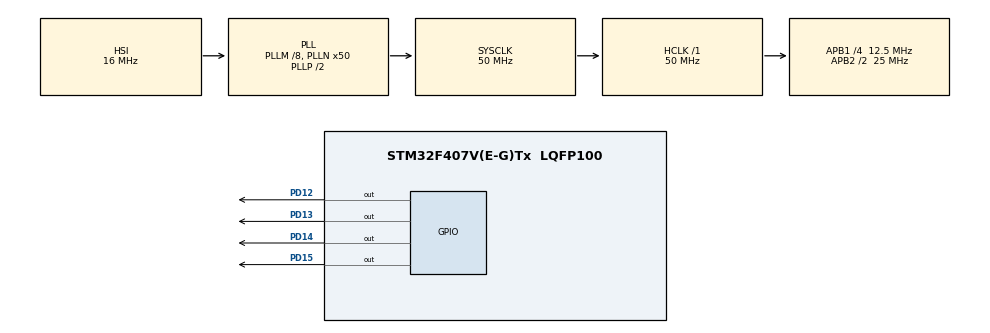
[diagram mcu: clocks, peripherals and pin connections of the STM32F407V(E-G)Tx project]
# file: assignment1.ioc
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FREERTOS.INCLUDE_vTaskDelayUntil=1
FREERTOS.Tasks01=defaultTask,-3,128,StartDefaultTask,Default,NULL,Dynamic,NULL,NULL
FREERTOS.configUSE_NEWLIB_REENTRANT=1
Mcu.Family=STM32F4
Mcu.Name=STM32F407V(E-G)Tx
Mcu.Package=LQFP100
NVIC.PriorityGroup=NVIC_PRIORITYGROUP_4
NVIC.TIM1_UP_TIM10_IRQn=true\:15\:0\:false\:false\:true\:false\:false\:true\:true
NVIC.TimeBase=TIM1_UP_TIM10_IRQn
NVIC.TimeBaseIP=TIM1
PD12.Signal=GPIO_Output
PD13.Signal=GPIO_Output
PD14.Signal=GPIO_Output
PD15.Signal=GPIO_Output
ProjectManager.HeapSize=0x200
ProjectManager.StackSize=0x400
ProjectManager.TargetToolchain=STM32CubeIDE
RCC.48MHZClocksFreq_Value=14285714.285714285
RCC.AHBFreq_Value=50000000
RCC.APB1CLKDivider=RCC_HCLK_DIV4
RCC.APB1Freq_Value=12500000
RCC.APB1TimFreq_Value=25000000
RCC.APB2CLKDivider=RCC_HCLK_DIV2
RCC.APB2Freq_Value=25000000
RCC.APB2TimFreq_Value=50000000
RCC.CortexFreq_Value=50000000
RCC.HCLKFreq_Value=50000000
RCC.HSE_VALUE=8000000
RCC.HSI_VALUE=16000000
RCC.PLLM=8
RCC.PLLN=50
RCC.PLLQ=7
RCC.SYSCLKFreq_VALUE=50000000
RCC.SYSCLKSource=RCC_SYSCLKSOURCE_PLLCLK
RCC.VCOOutputFreq_Value=100000000
VP_FREERTOS_VS_CMSIS_V1.Mode=CMSIS_V1
VP_SYS_VS_tim1.Mode=TIM1
board=STM32F407G-DISC1

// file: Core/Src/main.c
/* USER CODE BEGIN Header */
/**
  ******************************************************************************
  * @file           : main.c
  * @brief          : Main program body
  ******************************************************************************
  * @attention
  *
  * Copyright (c) 2024 STMicroelectronics.
  * All rights reserved.
  *
  * This software is licensed under terms that can be found in the LICENSE file
  * in the root directory of this software component.
  * If no LICENSE file comes with this software, it is provided AS-IS.
  *
  ******************************************************************************
  */
/* USER CODE END Header */
#include "main.h"
#include "cmsis_os.h"

/* USER CODE BEGIN Includes */
void vLedTask1(void * param)
{
	portTickType wakeuptime = xTaskGetTickCount();
	while(1)
	{
		HAL_GPIO_TogglePin(GPIOD, GPIO_PIN_12);
		vTaskDelayUntil(&wakeuptime, 1000 / portTICK_RATE_MS);

	}
	vTaskDelete(NULL);
}

void vLedTask2(void * param)
{
	portTickType wakeuptime = xTaskGetTickCount();
		while(1)
		{
			HAL_GPIO_TogglePin(GPIOD, GPIO_PIN_13);
			vTaskDelayUntil(&wakeuptime, 2000 / portTICK_RATE_MS);

		}
		vTaskDelete(NULL);
}

void vLedTask3(void * param)
{
	portTickType wakeuptime = xTaskGetTickCount();
		while(1)
		{
			HAL_GPIO_TogglePin(GPIOD, GPIO_PIN_14);
			vTaskDelayUntil(&wakeuptime, 3000 / portTICK_RATE_MS);

		}
		vTaskDelete(NULL);
}

void vLedTask4(void * param)
{
	portTickType wakeuptime = xTaskGetTickCount();
		while(1)
		{
			HAL_GPIO_TogglePin(GPIOD, GPIO_PIN_15);
			vTaskDelayUntil(&wakeuptime, 4000 / portTICK_RATE_MS);

		}
		vTaskDelete(NULL);
}
/* USER CODE END Includes */

osThreadId defaultTaskHandle;

void SystemClock_Config(void);
static void MX_GPIO_Init(void);
void StartDefaultTask(void const * argument);

int main(void)
{

  /* USER CODE BEGIN 1 */
	BaseType_t ret;
  /* USER CODE END 1 */

  /* MCU Configuration--------------------------------------------------------*/

  /* Reset of all peripherals, Initializes the Flash interface and the Systick. */
  HAL_Init();

  /* Configure the system clock */
  SystemClock_Config();

  /* Initialize all configured peripherals */
  MX_GPIO_Init();

  /* Create the thread(s) */
  /* definition and creation of defaultTask */
  osThreadDef(defaultTask, StartDefaultTask, osPriorityIdle, 0, 128);
  defaultTaskHandle = osThreadCreate(osThread(defaultTask), NULL);

  /* USER CODE BEGIN RTOS_THREADS */
  /* add threads, ... */
  ret = xTaskCreate(vLedTask1, "Periodic", configMINIMAL_STACK_SIZE, NULL, 2, NULL);
  if(ret != pdTRUE)
	  Error_Handler();
  ret = xTaskCreate(vLedTask2, "periodic", configMINIMAL_STACK_SIZE, NULL, 2, NULL);
  if(ret != pdTRUE)
	  Error_Handler();
  ret = xTaskCreate(vLedTask3, "Periodic", configMINIMAL_STACK_SIZE, NULL, 2, NULL);
  if(ret != pdTRUE)
	 Error_Handler();
  ret = xTaskCreate(vLedTask4, "periodic", configMINIMAL_STACK_SIZE, NULL, 2, NULL);
  if(ret != pdTRUE)
	 Error_Handler();

  /* USER CODE END RTOS_THREADS */

  /* Start scheduler */
  osKernelStart();

  /* We should never get here as control is now taken by the scheduler */

  /* Infinite loop */
  while (1)
  {

  }
}

void SystemClock_Config(void)
{
  RCC_OscInitTypeDef RCC_OscInitStruct = {0};
  RCC_ClkInitTypeDef RCC_ClkInitStruct = {0};

  /** Configure the main internal regulator output voltage
  */
  __HAL_RCC_PWR_CLK_ENABLE();
  __HAL_PWR_VOLTAGESCALING_CONFIG(PWR_REGULATOR_VOLTAGE_SCALE1);

  /** Initializes the RCC Oscillators according to the specified parameters
  * in the RCC_OscInitTypeDef structure.
  */
  RCC_OscInitStruct.OscillatorType = RCC_OSCILLATORTYPE_HSI;
  RCC_OscInitStruct.HSIState = RCC_HSI_ON;
  RCC_OscInitStruct.HSICalibrationValue = RCC_HSICALIBRATION_DEFAULT;
  RCC_OscInitStruct.PLL.PLLState = RCC_PLL_ON;
  RCC_OscInitStruct.PLL.PLLSource = RCC_PLLSOURCE_HSI;
  RCC_OscInitStruct.PLL.PLLM = 8;
  RCC_OscInitStruct.PLL.PLLN = 50;
  RCC_OscInitStruct.PLL.PLLP = RCC_PLLP_DIV2;
  RCC_OscInitStruct.PLL.PLLQ = 7;
  if (HAL_RCC_OscConfig(&RCC_OscInitStruct) != HAL_OK)
  {
    Error_Handler();
  }

  /** Initializes the CPU, AHB and APB buses clocks
  */
  RCC_ClkInitStruct.ClockType = RCC_CLOCKTYPE_HCLK|RCC_CLOCKTYPE_SYSCLK
                              |RCC_CLOCKTYPE_PCLK1|RCC_CLOCKTYPE_PCLK2;
  RCC_ClkInitStruct.SYSCLKSource = RCC_SYSCLKSOURCE_PLLCLK;
  RCC_ClkInitStruct.AHBCLKDivider = RCC_SYSCLK_DIV1;
  RCC_ClkInitStruct.APB1CLKDivider = RCC_HCLK_DIV4;
  RCC_ClkInitStruct.APB2CLKDivider = RCC_HCLK_DIV2;

  if (HAL_RCC_ClockConfig(&RCC_ClkInitStruct, FLASH_LATENCY_1) != HAL_OK)
  {
    Error_Handler();
  }
}

static void MX_GPIO_Init(void)
{
  GPIO_InitTypeDef GPIO_InitStruct = {0};

  /* GPIO Ports Clock Enable */
  __HAL_RCC_GPIOD_CLK_ENABLE();

  /*Configure GPIO pin Output Level */
  HAL_GPIO_WritePin(GPIOD, GPIO_PIN_12|GPIO_PIN_13|GPIO_PIN_14|GPIO_PIN_15, GPIO_PIN_RESET);

  /*Configure GPIO pins : PD12 PD13 PD14 PD15 */
  GPIO_InitStruct.Pin = GPIO_PIN_12|GPIO_PIN_13|GPIO_PIN_14|GPIO_PIN_15;
  GPIO_InitStruct.Mode = GPIO_MODE_OUTPUT_PP;
  GPIO_InitStruct.Pull = GPIO_NOPULL;
  GPIO_InitStruct.Speed = GPIO_SPEED_FREQ_LOW;
  HAL_GPIO_Init(GPIOD, &GPIO_InitStruct);

}

void StartDefaultTask(void const * argument)
{
  for(;;)
  {
    osDelay(1);
  }
}

void HAL_TIM_PeriodElapsedCallback(TIM_HandleTypeDef *htim)
{
  if (htim->Instance == TIM1) {
    HAL_IncTick();
  }
}

void Error_Handler(void)
{
  __disable_irq();
  while (1)
  {
  }
}
